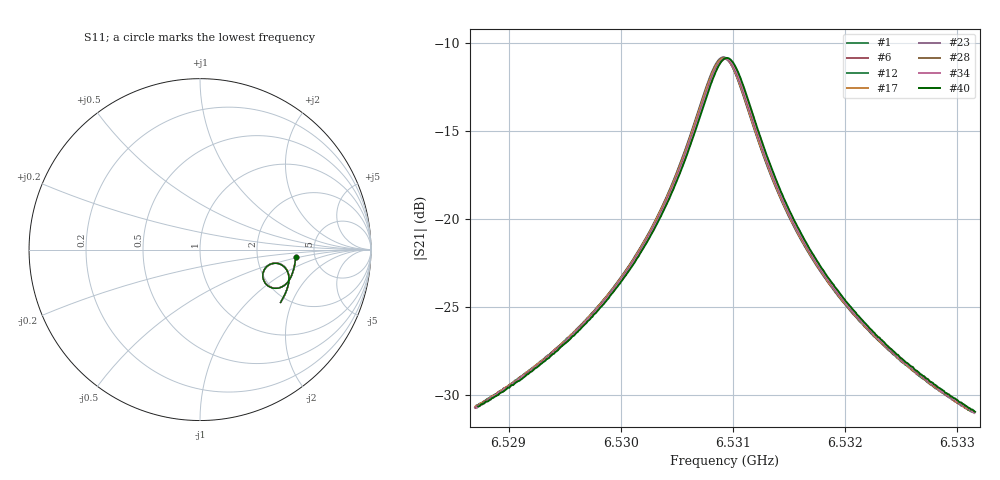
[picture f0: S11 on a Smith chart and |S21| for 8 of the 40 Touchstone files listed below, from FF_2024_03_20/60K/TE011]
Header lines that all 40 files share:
#  HZ  S  RI  R  50.00
! Rohde & Schwarz Vector Network Analyzer
! Rohde-Schwarz,ZNB20-2Port,1311601062101988,3.16
! freq[Hz]  re:S11  im:S11  re:S21  im:S21  re:S12  im:S12  re:S22  im:S22
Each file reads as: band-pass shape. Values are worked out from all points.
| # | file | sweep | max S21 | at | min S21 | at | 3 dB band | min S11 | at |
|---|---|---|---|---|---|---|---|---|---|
| 1 | 320_1_57.9997_59.0668488_84076.109_868.0102174282074_.s2p | 6.528717 GHz to 6.53311 GHz | -10.79 dB | 6.530913 GHz | -30.9 dB | 6.53311 GHz | 6.530705 GHz-6.531133 GHz | -8.1 dB | 6.530924 GHz |
| 2 | 321_1_58.0001_59.0668488_84327.734_870.4084215164185_.s2p | 6.528715 GHz to 6.533114 GHz | -10.79 dB | 6.530914 GHz | -30.9 dB | 6.533114 GHz | 6.530705 GHz-6.531134 GHz | -8.1 dB | 6.530914 GHz |
| 3 | 322_1_58.0002_59.0690346_84589.688_872.7967209815979_.s2p | 6.528711 GHz to 6.533118 GHz | -10.80 dB | 6.530915 GHz | -30.9 dB | 6.533107 GHz | 6.530705 GHz-6.531135 GHz | -8.1 dB | 6.530926 GHz |
| 4 | 323_1_58.0002_59.0673027_84801.422_875.1997442245483_.s2p | 6.528711 GHz to 6.533119 GHz | -10.80 dB | 6.530915 GHz | -30.9 dB | 6.533119 GHz | 6.530706 GHz-6.531135 GHz | -8.1 dB | 6.530915 GHz |
| 5 | 324_1_58.0002_59.0685844_85053.453_877.6024677753448_.s2p | 6.528714 GHz to 6.533118 GHz | -10.80 dB | 6.530916 GHz | -30.9 dB | 6.533118 GHz | 6.530706 GHz-6.531136 GHz | -8.1 dB | 6.530927 GHz |
| 6 | 325_1_58.0_59.0687637_85295.18_880.0006194114685_.s2p | 6.528713 GHz to 6.533119 GHz | -10.81 dB | 6.530916 GHz | -30.9 dB | 6.533119 GHz | 6.530707 GHz-6.531136 GHz | -8.1 dB | 6.530916 GHz |
| 7 | 326_1_57.9999_59.0680313_85557.078_882.4362382888794_.s2p | 6.52871 GHz to 6.533124 GHz | -10.81 dB | 6.530917 GHz | -31.0 dB | 6.533124 GHz | 6.530707 GHz-6.531137 GHz | -8.1 dB | 6.530917 GHz |
| 8 | 327_1_58.0001_59.0700378_85798.664_884.878805398941_.s2p | 6.528713 GHz to 6.533121 GHz | -10.81 dB | 6.530917 GHz | -30.9 dB | 6.533121 GHz | 6.530708 GHz-6.531137 GHz | -8.1 dB | 6.530917 GHz |
| 9 | 328_1_58.0001_59.0700378_86051.367_887.2988576889038_.s2p | 6.528709 GHz to 6.533126 GHz | -10.82 dB | 6.530918 GHz | -30.9 dB | 6.533126 GHz | 6.530708 GHz-6.531138 GHz | -8.1 dB | 6.530918 GHz |
| 10 | 329_1_57.9997_59.0720482_86273.477_889.7382218837738_.s2p | 6.528708 GHz to 6.533128 GHz | -10.82 dB | 6.530918 GHz | -31.0 dB | 6.533128 GHz | 6.530708 GHz-6.531139 GHz | -8.1 dB | 6.530918 GHz |
| 11 | 330_1_58.0004_59.0694923_86515.078_892.1716387271881_.s2p | 6.52871 GHz to 6.533127 GHz | -10.82 dB | 6.530918 GHz | -31.0 dB | 6.533127 GHz | 6.530709 GHz-6.531139 GHz | -8.1 dB | 6.530918 GHz |
| 12 | 331_1_57.9999_59.0700378_86766.867_894.5677728652954_.s2p | 6.528708 GHz to 6.53313 GHz | -10.83 dB | 6.530919 GHz | -31.0 dB | 6.53313 GHz | 6.530709 GHz-6.53114 GHz | -8.1 dB | 6.53093 GHz |
| 13 | 332_1_58.0004_59.0732384_87008.891_897.0001680850983_.s2p | 6.528707 GHz to 6.533132 GHz | -10.83 dB | 6.530919 GHz | -31.0 dB | 6.533132 GHz | 6.530709 GHz-6.531141 GHz | -8.1 dB | 6.530919 GHz |
| 14 | 333_1_57.9999_59.0723305_87261.086_899.4344244003296_.s2p | 6.528707 GHz to 6.533133 GHz | -10.84 dB | 6.53092 GHz | -31.0 dB | 6.533133 GHz | 6.53071 GHz-6.531141 GHz | -8.1 dB | 6.53092 GHz |
| 15 | 334_1_58.0004_59.070961_87502.719_901.8703653812408_.s2p | 6.528704 GHz to 6.533137 GHz | -10.84 dB | 6.53092 GHz | -31.0 dB | 6.533137 GHz | 6.53071 GHz-6.531142 GHz | -8.1 dB | 6.53092 GHz |
| 16 | 335_1_58.0004_59.0724144_87744.609_904.2805850505829_.s2p | 6.528705 GHz to 6.533136 GHz | -10.84 dB | 6.530921 GHz | -31.0 dB | 6.533136 GHz | 6.53071 GHz-6.531142 GHz | -8.1 dB | 6.530921 GHz |
| 17 | 336_1_58.0_59.0751495_87986.406_906.7142679691315_.s2p | 6.528705 GHz to 6.533138 GHz | -10.85 dB | 6.530921 GHz | -31.0 dB | 6.533138 GHz | 6.530711 GHz-6.531143 GHz | -8.1 dB | 6.530921 GHz |
| 18 | 337_1_58.0_59.0743332_88247.789_909.1117970943451_.s2p | 6.528707 GHz to 6.533137 GHz | -10.85 dB | 6.530922 GHz | -31.0 dB | 6.533137 GHz | 6.530711 GHz-6.531143 GHz | -8.1 dB | 6.530922 GHz |
| 19 | 338_1_58.0007_59.0746078_88490.281_911.5349273681641_.s2p | 6.528705 GHz to 6.53314 GHz | -10.85 dB | 6.530922 GHz | -31.0 dB | 6.53314 GHz | 6.530712 GHz-6.531144 GHz | -8.1 dB | 6.530922 GHz |
| 20 | 339_1_57.9996_59.0759735_88722.063_913.9604780673981_.s2p | 6.528702 GHz to 6.533143 GHz | -10.86 dB | 6.530923 GHz | -31.0 dB | 6.533143 GHz | 6.530712 GHz-6.531145 GHz | -8.1 dB | 6.530923 GHz |
| 21 | 340_1_57.9996_59.0755157_88963.797_916.3938889503479_.s2p | 6.528703 GHz to 6.533144 GHz | -10.86 dB | 6.530923 GHz | -31.0 dB | 6.533144 GHz | 6.530712 GHz-6.531145 GHz | -8.1 dB | 6.530923 GHz |
| 22 | 341_1_58.0002_59.0765953_89810.195_924.9945929050446_.s2p | 6.528705 GHz to 6.533142 GHz | -10.88 dB | 6.530924 GHz | -31.0 dB | 6.533142 GHz | 6.530713 GHz-6.531145 GHz | -8.1 dB | 6.530924 GHz |
| 23 | 342_1_58.0002_59.078968_90000.609_927.4051394462585_.s2p | 6.528701 GHz to 6.533149 GHz | -10.88 dB | 6.530925 GHz | -31.0 dB | 6.533149 GHz | 6.530714 GHz-6.531147 GHz | -8.1 dB | 6.530925 GHz |
| 24 | 343_1_57.9996_59.0805206_90000.609_929.814781665802_.s2p | 6.5287 GHz to 6.533152 GHz | -10.87 dB | 6.530926 GHz | -31.0 dB | 6.533152 GHz | 6.530715 GHz-6.531149 GHz | -8.1 dB | 6.530926 GHz |
| 25 | 344_1_57.9997_59.0792465_89980.93_932.2400164604187_.s2p | 6.528702 GHz to 6.533152 GHz | -10.86 dB | 6.530927 GHz | -31.0 dB | 6.533152 GHz | 6.530716 GHz-6.53115 GHz | -8.1 dB | 6.530938 GHz |
| 26 | 345_1_57.9998_59.078331_89760.484_934.6529974937439_.s2p | 6.528707 GHz to 6.53315 GHz | -10.88 dB | 6.530928 GHz | -31.0 dB | 6.53315 GHz | 6.530717 GHz-6.531151 GHz | -8.1 dB | 6.530928 GHz |
| 27 | 346_1_57.9996_59.0805206_89529.008_937.0986273288727_.s2p | 6.528705 GHz to 6.533154 GHz | -10.88 dB | 6.53093 GHz | -31.0 dB | 6.533143 GHz | 6.530718 GHz-6.531152 GHz | -8.1 dB | 6.530941 GHz |
| 28 | 347_1_57.9998_59.0812531_89302.25_939.4961373806_.s2p | 6.528705 GHz to 6.533156 GHz | -10.87 dB | 6.530931 GHz | -31.0 dB | 6.533156 GHz | 6.530719 GHz-6.531153 GHz | -8.1 dB | 6.530942 GHz |
| 29 | 348_1_58.0002_59.0810661_89063.609_941.9149849414825_.s2p | 6.528706 GHz to 6.533157 GHz | -10.87 dB | 6.530932 GHz | -31.1 dB | 6.533157 GHz | 6.53072 GHz-6.531154 GHz | -8.1 dB | 6.530943 GHz |
| 30 | 349_1_57.9998_59.0819778_88824.313_944.3218348026276_.s2p | 6.528709 GHz to 6.533156 GHz | -10.87 dB | 6.530933 GHz | -31.0 dB | 6.533156 GHz | 6.530721 GHz-6.531155 GHz | -8.1 dB | 6.530933 GHz |
| 31 | 350_1_57.9994_59.0823402_88585.32_946.7427742481232_.s2p | 6.528712 GHz to 6.533155 GHz | -10.86 dB | 6.530934 GHz | -31.0 dB | 6.533144 GHz | 6.530723 GHz-6.531156 GHz | -8.1 dB | 6.530945 GHz |
| 32 | 351_1_57.9999_59.0813408_88345.805_949.1522543430328_.s2p | 6.528717 GHz to 6.533152 GHz | -10.86 dB | 6.530935 GHz | -31.0 dB | 6.533152 GHz | 6.530724 GHz-6.531157 GHz | -8.1 dB | 6.530946 GHz |
| 33 | 352_1_58.0001_59.0813408_88096.172_951.5771911144257_.s2p | 6.528718 GHz to 6.533154 GHz | -10.85 dB | 6.530936 GHz | -31.0 dB | 6.533154 GHz | 6.530725 GHz-6.531158 GHz | -8.1 dB | 6.530936 GHz |
| 34 | 353_1_58.0007_59.0843468_87856.469_953.9806492328644_.s2p | 6.528718 GHz to 6.533156 GHz | -10.85 dB | 6.530937 GHz | -31.0 dB | 6.533156 GHz | 6.530726 GHz-6.531159 GHz | -8.1 dB | 6.530937 GHz |
| 35 | 354_1_58.0004_59.0825272_87627.0_956.410407781601_.s2p | 6.528721 GHz to 6.533156 GHz | -10.84 dB | 6.530938 GHz | -31.0 dB | 6.533156 GHz | 6.530728 GHz-6.53116 GHz | -8.1 dB | 6.530949 GHz |
| 36 | 355_1_58.0_59.0837097_87397.914_958.8210077285767_.s2p | 6.528726 GHz to 6.533152 GHz | -10.84 dB | 6.530939 GHz | -31.0 dB | 6.533152 GHz | 6.530729 GHz-6.53116 GHz | -8.1 dB | 6.530939 GHz |
| 37 | 356_1_57.9998_59.0864487_87137.852_961.2508113384247_.s2p | 6.528725 GHz to 6.533156 GHz | -10.84 dB | 6.53094 GHz | -31.0 dB | 6.533145 GHz | 6.53073 GHz-6.531162 GHz | -8.1 dB | 6.53094 GHz |
| 38 | 357_1_57.9999_59.0844421_86898.234_963.6812465190887_.s2p | 6.528725 GHz to 6.533158 GHz | -10.83 dB | 6.530942 GHz | -31.0 dB | 6.533158 GHz | 6.530731 GHz-6.531163 GHz | -8.1 dB | 6.530942 GHz |
| 39 | 358_1_57.999_59.0867195_86678.664_966.0711245536804_.s2p | 6.528732 GHz to 6.533153 GHz | -10.83 dB | 6.530942 GHz | -30.9 dB | 6.533153 GHz | 6.530732 GHz-6.531164 GHz | -8.1 dB | 6.530954 GHz |
| 40 | 359_1_57.9996_59.0874481_86419.063_968.508430480957_.s2p | 6.52873 GHz to 6.533157 GHz | -10.82 dB | 6.530944 GHz | -31.0 dB | 6.533157 GHz | 6.530733 GHz-6.531165 GHz | -8.1 dB | 6.530955 GHz |
